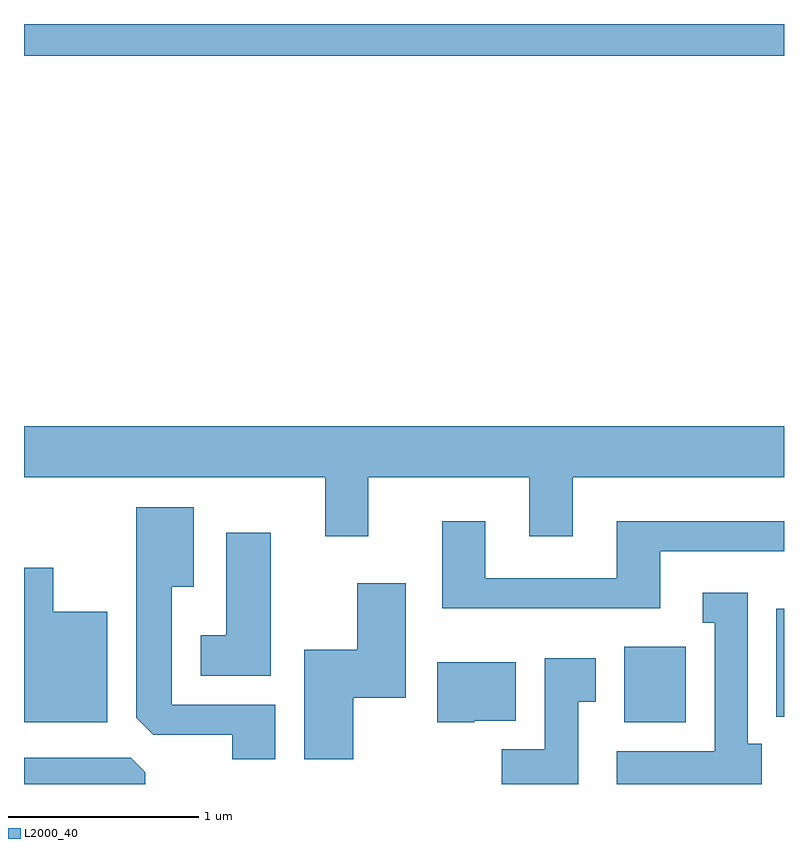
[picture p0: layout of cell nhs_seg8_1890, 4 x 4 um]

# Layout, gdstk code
import gdstk
lib = gdstk.Library(unit=1e-6, precision=1e-09)
def R(c, l, rs):  # rectangles x0, y0, x1, y1
    for r in rs: c.add(gdstk.rectangle(r[:2], r[2:], *l))
def P(c, l, *ps):  # polygons
    for p in ps: c.add(gdstk.Polygon(p, *l))
L2000_40 = (2000, 40)

nhs_seg8_1890 = lib.new_cell('nhs_seg8_1890')
R(nhs_seg8_1890, L2000_40, [(244.771,1850.666,245.094,1851.064), (245.571,1850.696,245.611,1851.264), (241.611,1854.176,245.611,1854.342)])
P(nhs_seg8_1890, L2000_40, [(243.424,1851.956),(244.271,1851.956),(244.271,1851.646),(244.499,1851.646),(244.499,1851.956),(245.611,1851.956),(245.611,1852.224),(241.611,1852.224),(241.611,1851.956),(243.196,1851.956),(243.196,1851.646),(243.424,1851.646)],
  [(242.934,1850.759),(242.389,1850.759),(242.389,1851.381),(242.504,1851.381),(242.504,1851.799),(242.201,1851.799),(242.201,1850.692),(242.292,1850.601),(242.706,1850.601),(242.706,1850.471),(242.934,1850.471)],
  [(244.959,1851.566),(245.611,1851.566),(245.611,1851.724),(244.731,1851.724),(244.731,1851.424),(244.039,1851.424),(244.039,1851.724),(243.811,1851.724),(243.811,1851.266),(244.959,1851.266)],
  [(242.909,1851.664),(242.676,1851.664),(242.676,1851.124),(242.541,1851.124),(242.541,1850.911),(242.909,1850.911)],
  [(242.049,1851.249),(241.764,1851.249),(241.764,1851.479),(241.611,1851.479),(241.611,1850.666),(242.049,1850.666)],
  [(243.344,1850.796),(243.619,1850.796),(243.619,1851.399),(243.366,1851.399),(243.366,1851.049),(243.086,1851.049),(243.086,1850.471),(243.344,1850.471)],
  [(245.494,1850.554),(245.419,1850.554),(245.419,1851.349),(245.183,1851.349),(245.183,1851.191),(245.246,1851.191),(245.246,1850.514),(244.731,1850.514),(244.731,1850.342),(245.494,1850.342)],
  [(244.529,1850.776),(244.619,1850.776),(244.619,1851.004),(244.351,1851.004),(244.351,1850.524),(244.126,1850.524),(244.126,1850.342),(244.529,1850.342)],
  [(243.98,1850.676),(244.199,1850.676),(244.199,1850.984),(243.786,1850.984),(243.786,1850.666),(243.98,1850.666)],
  [(242.249,1850.404),(242.174,1850.479),(241.611,1850.479),(241.611,1850.342),(242.249,1850.342)])

lib.write_gds('nhs_seg8_1890.gds')
